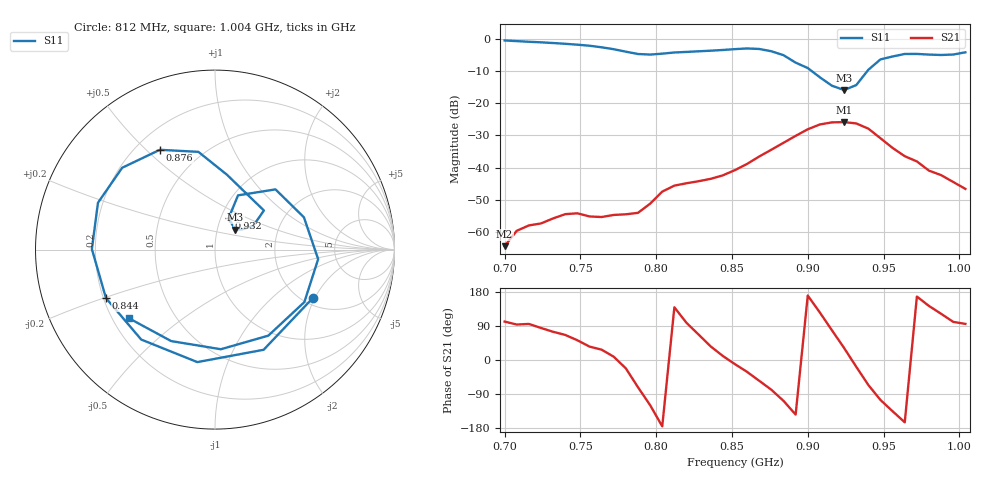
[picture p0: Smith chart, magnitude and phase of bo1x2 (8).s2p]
# Hz S RI R 50
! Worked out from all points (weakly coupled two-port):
!   39 points, 700 MHz to 1.004 GHz, reference 50 ohm
!   highest |S21| = -25.91 dB at 924 MHz (marker M1); lowest = -64.4 dB at 700 MHz (marker M2)
!   lowest |S11| = -16.0 dB at 924 MHz (marker M3), VSWR 1.38, Z = 61.1 + j13.9 ohm
!   |S11| at or under -10 dB: 902.4 MHz to 939.4 MHz (37.07 MHz wide, 4.03 % of centre)
!   S12 and S22 are empty: the file has one direction only
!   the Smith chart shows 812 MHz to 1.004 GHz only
!   S11 on the Smith chart (normalised r, x): 812 MHz: 2.26, -1.93; 844 MHz: 0.21, -0.20; 876 MHz: 0.30, +0.55; 932 MHz: 1.09, +0.39; 1.004 GHz: 0.27, -0.33
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7e8  0.7516 0.5553  -0.000119 0.000591  0 0  0 0
7.24e8  0.8419 -0.2341  0.00013 0.00135  0 0  0 0
7.4e8  0.4605 -0.69  0.000764 0.00173  0 0  0 0
7.56e8  -0.1819 -0.7521  0.00142 0.00101  0 0  0 0
7.72e8  -0.6525 -0.2036  0.00182 0.000276  0 0  0 0
7.8e8  -0.5858 0.2201  0.00174 -0.00071  0 0  0 0
7.88e8  -0.2426 0.5223  0.000616 -0.00188  0 0  0 0
7.96e8  0.2322 0.5142  -0.00134 -0.0024  0 0  0 0
8.04e8  0.5563 0.1742  -0.00421 -0.000364  0 0  0 0
8.12e8  0.5455 -0.2693  -0.00395 0.00343  0 0  0 0
8.28e8  -0.0984 -0.6268  0.00239 0.00565  0 0  0 0
8.44e8  -0.6077 -0.2697  0.00743 0.00139  0 0  0 0
8.52e8  -0.6859 0.00292  0.00895 -0.00174  0 0  0 0
8.76e8  -0.3072 0.5561  0.00374 -0.0185  0 0  0 0
9e8  0.2725 0.218  -0.0386 0.00674  0 0  0 0
9.08e8  0.213 0.132  -0.0268 0.038  0 0  0 0
9.24e8  0.114 0.111  0.0431 0.0265  0 0  0 0
9.32e8  0.0756 0.1741  0.0459 -0.0149  0 0  0 0
9.48e8  0.3371 0.3355  -0.00767 -0.0274  0 0  0 0
9.56e8  0.4956 0.1798  -0.0143 -0.0141  0 0  0 0
9.8e8  0.2971 -0.4794  -0.00709 0.00544  0 0  0 0
1.004e9  -0.4773 -0.3836  -0.000428 0.00464  0 0  0 0
